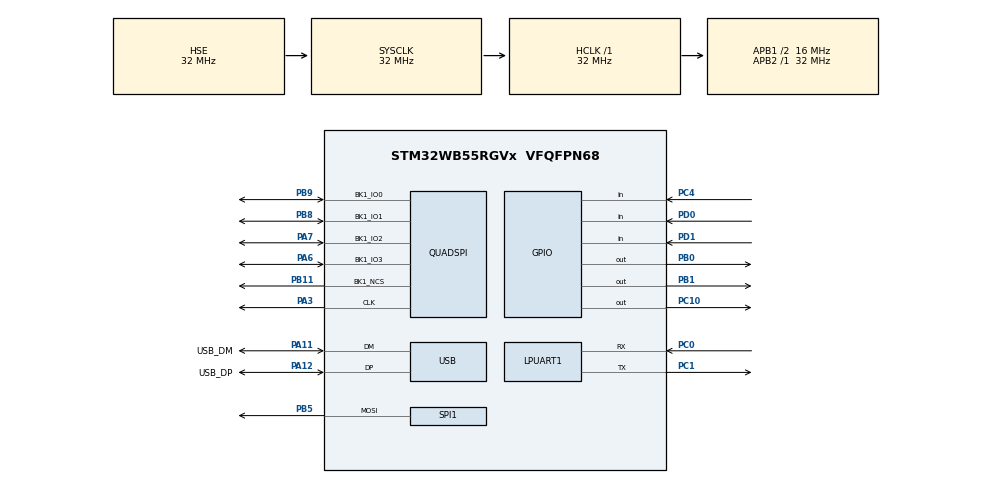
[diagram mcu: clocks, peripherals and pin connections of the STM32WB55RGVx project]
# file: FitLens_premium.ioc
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Mcu.Family=STM32WB
Mcu.Name=STM32WB55RGVx
Mcu.Package=VFQFPN68
NUCLEO-WB55RG.BUTTON=1
NUCLEO-WB55RG.BUTTON2=1
NUCLEO-WB55RG.BUTTON3=1
NUCLEO-WB55RG.Bsp_Common_DEMO=true
NUCLEO-WB55RG.LD1=true
NUCLEO-WB55RG.LD2=true
NUCLEO-WB55RG.LD3=true
NUCLEO-WB55RG.VCP=false
NVIC.EXTI0_IRQn=true\:0\:0\:false\:false\:true\:false\:true\:true
NVIC.EXTI1_IRQn=true\:0\:0\:false\:false\:true\:false\:true\:true
NVIC.EXTI4_IRQn=true\:0\:0\:false\:false\:true\:false\:true\:true
NVIC.HSEM_IRQn=true\:0\:0\:false\:false\:true\:false\:true\:true
NVIC.IPCC_C1_RX_IRQn=true\:0\:0\:false\:false\:true\:true\:true\:true
NVIC.IPCC_C1_TX_IRQn=true\:0\:0\:false\:false\:true\:true\:true\:true
NVIC.PriorityGroup=NVIC_PRIORITYGROUP_4
NVIC.USB_LP_IRQn=true\:0\:0\:false\:false\:true\:false\:true\:true
OSC_IN.GPIO_Label=RCC_OSC_IN
OSC_IN.Mode=HSE-External-Oscillator
OSC_IN.Signal=RCC_OSC_IN
OSC_OUT.GPIO_Label=RCC_OSC_OUT
OSC_OUT.Mode=HSE-External-Oscillator
OSC_OUT.Signal=RCC_OSC_OUT
PA11.GPIO_Label=USB_DM
PA11.Mode=Device
PA11.Signal=USB_DM
PA12.GPIO_Label=USB_DP
PA12.Mode=Device
PA12.Signal=USB_DP
PA13.GPIO_Label=JTMS
PA13.Signal=SYS_JTMS-SWDIO
PA14.GPIO_Label=JTCK
PA14.Signal=SYS_JTCK-SWCLK
PA3.Mode=Single Bank 1
PA3.Signal=QUADSPI_CLK
PA6.Mode=Single Bank 1
PA6.Signal=QUADSPI_BK1_IO3
PA7.Mode=Single Bank 1
PA7.Signal=QUADSPI_BK1_IO2
PB0.Signal=GPIO_Output
PB1.Signal=GPIO_Output
PB11.Mode=Single Bank 1
PB11.Signal=QUADSPI_BK1_NCS
PB3.GPIO_Label=JTDO
PB3.Signal=SYS_JTDO-SWO
PB5.Mode=Full_Duplex_Master
PB5.Signal=SPI1_MOSI
PB8.Mode=Single Bank 1
PB8.Signal=QUADSPI_BK1_IO1
PB9.Mode=Single Bank 1
PB9.Signal=QUADSPI_BK1_IO0
PC0.Mode=Asynchronous
PC0.Signal=LPUART1_RX
PC1.Mode=Asynchronous
PC1.Signal=LPUART1_TX
PC10.Signal=GPIO_Output
PC13.GPIO_Label=SYS_WKUP2
PC13.Signal=SYS_WKUP2
PC14-OSC32_IN.GPIO_Label=RCC_OSC32_IN
PC14-OSC32_IN.Mode=LSE-External-Oscillator
PC14-OSC32_IN.Signal=RCC_OSC32_IN
PC15-OSC32_OUT.GPIO_Label=RCC_OSC32_OUT
PC15-OSC32_OUT.Mode=LSE-External-Oscillator
PC15-OSC32_OUT.Signal=RCC_OSC32_OUT
PC4.Signal=GPIO_Input
PD0.Signal=GPIO_Input
PD1.Signal=GPIO_Input
ProjectManager.HeapSize=0x200
ProjectManager.StackSize=0x400
ProjectManager.TargetToolchain=STM32CubeIDE
QUADSPI.FlashSize=22
RCC.ADCFreq_Value=48000000
RCC.AHBFreq_Value=32000000
RCC.APB1CLKDivider=RCC_HCLK_DIV2
RCC.APB1Freq_Value=16000000
RCC.APB1TimFreq_Value=32000000
RCC.APB2Freq_Value=32000000
RCC.APB2TimFreq_Value=32000000
RCC.APB3Freq_Value=16000000
RCC.CortexFreq_Value=32000000
RCC.HCLKFreq_Value=32000000
RCC.HSE_VALUE=32000000
RCC.HSI48_VALUE=48000000
RCC.HSI_VALUE=16000000
RCC.PLLSAI1N=24
RCC.RFWKPClockSelection=RCC_RFWKPCLKSOURCE_LSE
RCC.RTCClockSelection=RCC_RTCCLKSOURCE_LSE
RCC.SMPSCLockSelection=RCC_SMPSCLKSOURCE_HSI
RCC.SMPSCLockSelectionVirtual=RCC_SMPSCLKSOURCE_HSI
RCC.SMPSCLockSelectionVirtualVirtual=RCC_SMPSCLKSOURCE_HSI
RCC.SYSCLKFreq_VALUE=32000000
RCC.SYSCLKSource=RCC_SYSCLKSOURCE_HSE
RCC.USBFreq_Value=48000000
RCC.VCOOutputFreq_Value=32000000
RF1.Mode=RF1_Activate
RF1.Signal=RF_RF1
STM32_WPAN.BLE_APPLICATION_TYPE=BLE_CLIENT_PROFILE
STM32_WPAN.CFG_BLE_NUM_LINK=3
STM32_WPAN.CFG_LSCLK_LSE=0
USB_DEVICE.CLASS_NAME_FS=CDC
USB_DEVICE.VirtualMode=Cdc
USB_DEVICE.VirtualModeFS=Cdc_FS
VP_HSEM_VS_HSEM.Mode=HSEM_Activate
VP_IPCC_VS_IPCC.Mode=IPCC_Activate
VP_MEMORYMAP_VS_MEMORYMAP.Mode=CurAppReg
VP_NUCLEO-WB55RG_VS_BSP_COMMON.Mode=COMMON
VP_RTC_VS_RTC_Activate.Mode=RTC_Enabled
VP_RTC_VS_RTC_WakeUp_intern.Mode=WakeUp
VP_SEQUENCER_VS_SEQUENCER.Mode=SEQUENCER_Enabled
VP_STM32_WPAN_VS_BLE_HOST.Mode=STM32_WPAN_Enabled
VP_TINY_LPM_VS_TINY_LPM.Mode=TINY_LPM_Enabled
VP_USB_DEVICE_VS_USB_DEVICE_CDC_FS.Mode=CDC_FS
board=NUCLEO-WB55RG

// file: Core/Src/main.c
/* USER CODE BEGIN Header */
/**
  ******************************************************************************
  * @file           : main.c
  * @brief          : Main program body
  ******************************************************************************
  * @attention
  *
  * Copyright (c) 2025 STMicroelectronics.
  * All rights reserved.
  *
  * This software is licensed under terms that can be found in the LICENSE file
  * in the root directory of this software component.
  * If no LICENSE file comes with this software, it is provided AS-IS.
  *
  ******************************************************************************
  */
/* USER CODE END Header */
#include "main.h"
#include "usb_device.h"

/* USER CODE BEGIN Includes */
//#include "ssd1306_fonts.h"
#include "usbd_cdc_if.h"
#include <string.h>
#include <stdio.h>
//#include "ssd1306.h"
#include <stdlib.h>
/* USER CODE END Includes */

/* USER CODE BEGIN PD */
#define GPS_BUFFER_SIZE 128
uint8_t gps_rx_byte;
char gps_buffer[GPS_BUFFER_SIZE];
uint8_t gps_index = 0;

uint8_t hour, minute, second;
uint8_t satellites;
double latitude, longitude;
float speed_knots, speed_mph;
float altitude_m;

#define MEM_CS_Pin GPIO_PIN_11
#define MEM_CS_GPIO_Port GPIOB
#define SPI1_DC_Pin GPIO_PIN_10
#define SPI1_DC_GPIO_Port GPIOC
/* USER CODE END PD */

static uint32_t delay = 250;
IPCC_HandleTypeDef hipcc;

UART_HandleTypeDef hlpuart1;

QSPI_HandleTypeDef hqspi;

RTC_HandleTypeDef hrtc;

/* USER CODE BEGIN PV */
uint32_t flash_id = 0;
/* USER CODE END PV */

void SystemClock_Config(void);
void PeriphCommonClock_Config(void);
static void MX_GPIO_Init(void);
static void MX_LPUART1_UART_Init(void);
static void MX_IPCC_Init(void);
static void MX_RTC_Init(void);
static void MX_QUADSPI_Init(void);
static void MX_RF_Init(void);

/* USER CODE BEGIN 0 */
/*void Display_Write(uint8_t cmd) {
    HAL_GPIO_WritePin(DISP_DC_PORT, DISP_DC, GPIO_PIN_RESET); // command mode
    HAL_GPIO_WritePin(DISP_CS_PORT, DISP_CS, GPIO_PIN_RESET); // select display
    HAL_SPI_Transmit(&hspi1, &cmd, 1, HAL_MAX_DELAY); // send command
    HAL_GPIO_WritePin(DISP_CS_PORT, DISP_CS, GPIO_PIN_SET); // deselect display
}*/

// convert NMEA (ddmm.mmmm) to lat/lon degrees
double nmea_to_decimal(const char* nmea, char dir) {
	double val = atof(nmea); // string to double
	int degrees = (int)(val / 100);
	double minutes = val - degrees * 100;
	double dec = degrees + minutes / 60.0;
	if(dir == 'S' || dir == 'W') dec = -dec; // convention-may want to keep letters later
	return dec;
}

void parse_GPGGA(char* sentence) {
	char* token;
	int field = 0;
	char lat[16], lon[16], ns, ew, alt[16], sat[4];

	token = strtok(sentence, ",");
	while(token) {
		field++;
		switch(field) {
			case 2: break;
			case 3: strcpy(lat, token); break;
			case 4: ns = token[0]; break;
			case 5: strcpy(lon, token); break;
			case 6: ew = token[0]; break;
			case 7: strcpy(sat, token); break;
			case 10: strcpy(alt, token); break;
		}
		token = strtok(NULL, ",");
	}
	latitude = nmea_to_decimal(lat, ns);
	longitude = nmea_to_decimal(lon, ew);
	satellites = (uint8_t)atoi(sat);
	altitude_m = atof(alt);
}

void parse_GPRMC(char* sentence) {
	char* token;
	int field = 0;
	char time_str[16], speed[16];

	token = strtok(sentence, ",");
	while(token) {
		field++;
		switch(field) {
			case 2: strcpy(time_str, token); break;
			case 8: strcpy(speed, token); break;
		}
		token = strtok(NULL, ",");
	}
	char h[3], m[3], s[3];
	strncpy(h, time_str, 2); h[2] = '\0';
	strncpy(m, time_str+2, 2); m[2] = '\0';
	strncpy(s, time_str+4, 2); s[2] = '\0';
	hour = atoi(h);
	minute = atoi(m);
	second = atoi(s);
	speed_knots = atof(speed);
	speed_mph = speed_knots * 1.150779;
}

// called when UART receive completes in interrupt mode
void HAL_UART_RxCpltCallback(UART_HandleTypeDef *huart) {
	if(huart->Instance == LPUART1) {
		if(gps_rx_byte == '\n') {
			gps_buffer[gps_index] = '\0';
			if(strncmp(gps_buffer, "$GPGGA", 6) == 0) parse_GPGGA(gps_buffer);
			else if(strncmp(gps_buffer, "$GPRMC", 6) == 0) parse_GPRMC(gps_buffer);
			gps_index = 0;
		} else if(gps_index < GPS_BUFFER_SIZE - 1) {
			gps_buffer[gps_index++] = gps_rx_byte;
		}
		HAL_UART_Receive_IT(&hlpuart1, &gps_rx_byte, 1);
	}
}

uint32_t MX25_READID_QSPI(void){
	QSPI_CommandTypeDef s_command = {0};
	uint8_t id[3];

	s_command.Instruction = 0x9F;
	s_command.InstructionMode = QSPI_INSTRUCTION_1_LINE;
	s_command.AddressMode = QSPI_ADDRESS_NONE;
	s_command.AlternateByteMode = QSPI_ALTERNATE_BYTES_NONE;
	s_command.DataMode = QSPI_DATA_1_LINE;
	s_command.NbData = 3;
	s_command.DdrMode = QSPI_DDR_MODE_DISABLE;
	s_command.SIOOMode = QSPI_SIOO_INST_EVERY_CMD;

	if (HAL_QSPI_Command(&hqspi, &s_command, HAL_QSPI_TIMEOUT_DEFAULT_VALUE) == HAL_OK)
	{
		HAL_QSPI_Receive(&hqspi, id, HAL_QSPI_TIMEOUT_DEFAULT_VALUE);
	}

	return (id[0] << 16) | (id[1] << 8) | id[2];
}

void MX25_WriteEnable(void){
	QSPI_CommandTypeDef s_command = {0};

	s_command.Instruction = 0x06;
	s_command.InstructionMode = QSPI_INSTRUCTION_1_LINE;
	s_command.AddressMode = QSPI_ADDRESS_NONE;
	s_command.AlternateByteMode = QSPI_ALTERNATE_BYTES_NONE;
	s_command.DataMode = QSPI_DATA_NONE;
	s_command.NbData = 0;
	s_command.DdrMode = QSPI_DDR_MODE_DISABLE;
	s_command.SIOOMode = QSPI_SIOO_INST_EVERY_CMD;

	if (HAL_QSPI_Command(&hqspi, &s_command,HAL_QSPI_TIMEOUT_DEFAULT_VALUE) != HAL_OK){
		Error_Handler();
	}

}

uint8_t MX25_ReadStatus(void){
	QSPI_CommandTypeDef s_command = {0};
	uint8_t status = 0;

	s_command.Instruction = 0x05;
	s_command.InstructionMode = QSPI_INSTRUCTION_1_LINE;
	s_command.AddressMode = QSPI_ADDRESS_NONE;
	s_command.AlternateByteMode = QSPI_ALTERNATE_BYTES_NONE;
	s_command.DataMode = QSPI_DATA_1_LINE;
	s_command.NbData = 1;
	s_command.DummyCycles = 0;
	s_command.DdrMode = QSPI_DDR_MODE_DISABLE;
	s_command.SIOOMode = QSPI_SIOO_INST_EVERY_CMD;

	if (HAL_QSPI_Command(&hqspi, &s_command, HAL_QSPI_TIMEOUT_DEFAULT_VALUE) == HAL_OK) {
	        HAL_QSPI_Receive(&hqspi, &status, HAL_QSPI_TIMEOUT_DEFAULT_VALUE);
	}
	return status;
}

void MX25_WaitForBusy(void) {
    while ((MX25_ReadStatus() & 0x01) == 0x01) {
        HAL_Delay(1);
    }
}

void MX25_PageProgram(uint32_t Address, uint8_t *pData, uint16_t Size){
	QSPI_CommandTypeDef s_command = {0};

	MX25_WriteEnable();
	s_command.Instruction = 0x02;
	s_command.InstructionMode = QSPI_INSTRUCTION_1_LINE;
	s_command.Address = Address;
	s_command.AddressMode = QSPI_ADDRESS_1_LINE;
	s_command.AddressSize = QSPI_ADDRESS_24_BITS;
	s_command.DataMode = QSPI_DATA_1_LINE;
	s_command.NbData = Size; //256 bytes possible
	s_command.DummyCycles = 0;

	if (HAL_QSPI_Command(&hqspi, &s_command, HAL_QSPI_TIMEOUT_DEFAULT_VALUE) == HAL_OK) {
	    if (HAL_QSPI_Transmit(&hqspi, pData, HAL_QSPI_TIMEOUT_DEFAULT_VALUE) != HAL_OK) {
	        Error_Handler();
	    }
	}
	//uses helper to wait for the chip to finish writing
	while ((MX25_ReadStatus() & 0x01) == 0x01);
}

void MX25_SectorErase(uint32_t Address){
	QSPI_CommandTypeDef s_command = {0};

	MX25_WriteEnable();

	s_command.Instruction = 0x20;
	s_command.InstructionMode = QSPI_INSTRUCTION_1_LINE;
	s_command.Address = Address;
	s_command.AddressMode = QSPI_ADDRESS_1_LINE;
	s_command.AddressSize = QSPI_ADDRESS_24_BITS;
	s_command.DataMode = QSPI_DATA_NONE;
	s_command.DummyCycles = 0;
	s_command.DdrMode = QSPI_DDR_MODE_DISABLE;
	s_command.SIOOMode = QSPI_SIOO_INST_EVERY_CMD;

	if (HAL_QSPI_Command(&hqspi, &s_command, HAL_QSPI_TIMEOUT_DEFAULT_VALUE) != HAL_OK) {
	    Error_Handler();
	}

	while ((MX25_ReadStatus() & 0x01) == 0x01);
}

void MX25_ReadData(uint32_t Address, uint8_t *pData, uint16_t Size){
	QSPI_CommandTypeDef s_command = {0};

	s_command.Instruction = 0x03;
	s_command.InstructionMode = QSPI_INSTRUCTION_1_LINE;
	s_command.Address = Address;
	s_command.AddressMode = QSPI_ADDRESS_1_LINE;
	s_command.AddressSize = QSPI_ADDRESS_24_BITS;
	s_command.DataMode = QSPI_DATA_1_LINE;
	s_command.NbData = Size;
	s_command.DummyCycles = 0;
	s_command.DdrMode = QSPI_DDR_MODE_DISABLE;
	s_command.SIOOMode = QSPI_SIOO_INST_EVERY_CMD;

	if (HAL_QSPI_Command(&hqspi, &s_command, HAL_QSPI_TIMEOUT_DEFAULT_VALUE) == HAL_OK) {
	    if (HAL_QSPI_Receive(&hqspi, pData, HAL_QSPI_TIMEOUT_DEFAULT_VALUE) != HAL_OK) {
	        Error_Handler();
	    }
	}
}
/* USER CODE END 0 */

int main(void)
{

  /* MCU Configuration--------------------------------------------------------*/

  /* Reset of all peripherals, Initializes the Flash interface and the Systick. */
  HAL_Init();
  /* Config code for STM32_WPAN (HSE Tuning must be done before system clock configuration) */
  MX_APPE_Config();

  /* Configure the system clock */
  SystemClock_Config();

  /* Configure the peripherals common clocks */
  PeriphCommonClock_Config();

  /* IPCC initialisation */
  MX_IPCC_Init();

  /* Initialize all configured peripherals */
  MX_GPIO_Init();
  MX_LPUART1_UART_Init();
  MX_RTC_Init();
  MX_USB_Device_Init();
  MX_QUADSPI_Init();
  MX_RF_Init();
  /* USER CODE BEGIN 2 */

  BSP_LED_Off(LED_GREEN);
  BSP_LED_Off(LED_RED);
  BSP_LED_Off(LED_BLUE);

  BSP_LED_On(LED_BLUE);
  BSP_LED_Off(LED_BLUE);

  flash_id = MX25_READID_QSPI();

  if (flash_id == 0xC22017) {

      BSP_LED_On(LED_GREEN);
  }
  else if (flash_id == 0x000000 || flash_id == 0xFFFFFF) {

      BSP_LED_On(LED_RED);
      BSP_LED_On(LED_BLUE);
  }
  else {

      BSP_LED_On(LED_RED);
  }

    // new test
    //uint8_t tx_buf[] = "FITLENS_SYSTEM_OK";
    //uint8_t rx_buf[20] = {0};

    //erase sector
    //MX25_SectorErase(0x000000);

    //write the string
    //MX25_PageProgram(0x000000, tx_buf, 17);

    // read the string back
    //MX25_ReadData(0x000000, rx_buf, 17);

    // usb test
    /*char usb_msg[64];
    int test_passed = (strcmp((char*)tx_buf, (char*)rx_buf) == 0);

    if (test_passed) {
          sprintf(usb_msg, "Storage & USB work woohoo! ID: 0xC22017\r\n");
      } else {
          sprintf(usb_msg, "Storage Error :( USB Link works.\r\n");
      }

    //7-1-1
    HAL_Delay(3000);
    CDC_Transmit_FS((uint8_t*)usb_msg, strlen(usb_msg));

    if (test_passed) {
          while(1) { BSP_LED_On(LED_GREEN); }
      } else {
          while(1) {
              BSP_LED_On(LED_RED);
              if (rx_buf[0] == 0) BSP_LED_On(LED_BLUE);
          }
      }
     */
    /*if (strcmp((char*)tx_buf, (char*)rx_buf) == 0) {
    if (strcmp("WRONG_STRING", (char*)rx_buf) == 0) {
          // Works
          while(1) {
              BSP_LED_On(LED_GREEN);
              BSP_LED_Off(LED_RED);
              BSP_LED_Off(LED_BLUE);
          }
      } else {
          // does not work
          while(1) {
              BSP_LED_On(LED_RED);
              // If the buffer is empty (0x00) blink blue too
              if (rx_buf[0] == 0) BSP_LED_On(LED_BLUE);
          }
      }
	*/

    // download gpx test
    /*char gpx_data[] =
        "<?xml version=\"1.0\" encoding=\"UTF-8\"?>\n"
        "<gpx version=\"1.1\" creator=\"FitLens\">\n"
        "<trk><trkseg>\n"
        "<trkpt lat=\"40.4237\" lon=\"-86.9138\"><ele>188.0</ele></trkpt>\n"
        "</trkseg></trk></gpx>\n";
    MX25_SectorErase(0x000000);
    MX25_PageProgram(0x000000, (uint8_t*)gpx_data, strlen(gpx_data));

    //uint32_t flash_id = MX25_READID_QSPI();

    //notifies user over USB
    HAL_Delay(3000);
    char prompt[128];
    sprintf(prompt, "\r\nFitLens\r\n" "Flash ID: 0x%06lX\r\n" "Commands: [D]ownload, [E]rase, [L]ED Toggle\r\n", flash_id);
    CDC_Transmit_FS((uint8_t*)prompt, strlen(prompt));

    while(1) {
            HAL_Delay(100);
    }
	*/
  /* USER CODE END 2 */

  /* Init code for STM32_WPAN */
  MX_APPE_Init();

  /* Initialize leds */
  BSP_LED_Init(LED_BLUE);
  BSP_LED_Init(LED_GREEN);
  BSP_LED_Init(LED_RED);

  /* Initialize USER push-button, will be used to trigger an interrupt each time it's pressed.*/
  BSP_PB_Init(BUTTON_SW1, BUTTON_MODE_EXTI);
  BSP_PB_Init(BUTTON_SW2, BUTTON_MODE_EXTI);
  BSP_PB_Init(BUTTON_SW3, BUTTON_MODE_EXTI);

  /* USER CODE BEGIN BSP */

  /* -- Sample board code to send message over COM1 port ---- */
  printf("Welcome to STM32 world !\n\r");

  /* -- Sample board code to switch on leds ---- */
  BSP_LED_On(LED_BLUE);
  BSP_LED_On(LED_GREEN);
  BSP_LED_On(LED_RED);

  /* USER CODE END BSP */

  /* Infinite loop */
  /* USER CODE BEGIN WHILE */
  while (1)
  {
	  MX_APPE_Process();

//    /* -- Sample board code for User push-button in interrupt mode ---- */
//    BSP_LED_Toggle(LED_BLUE);
//    HAL_Delay(delay);
//
//    BSP_LED_Toggle(LED_GREEN);
//    HAL_Delay(delay);
//
//    BSP_LED_Toggle(LED_RED);
//    HAL_Delay(delay);
//
//    ssd1306_Fill(White);
//    ssd1306_UpdateScreen();
//    HAL_Delay(1000);
//    ssd1306_Fill(Black);
//    ssd1306_UpdateScreen();

//    // display time and speed on first two lines
//	 char buf[32];
//	 sprintf(buf, "%.2f mph", speed_mph);
//	 ssd1306_SetCursor(35, 30);
//	 ssd1306_WriteString(buf, Font_6x8, White);
//
//	 sprintf(buf, "%02d:%02d:%02d", hour, minute, second);
//	 ssd1306_SetCursor(35, 20);
//	 ssd1306_WriteString(buf, Font_6x8, White);
//
//	 // display number of satellites and altitude on next two lines
////	 sprintf(buf, "Sat: %d", satellites);
////	 ssd1306_SetCursor(35, 40);
////	 ssd1306_WriteString(buf, Font_6x8, White);
//
// //	 sprintf(buf, "Alt: %.1f", altitude_m);
// //	 ssd1306_SetCursor(35, 50);
// //	 ssd1306_WriteString(buf, Font_6x8, White);
//
//	 // display coords
//	 sprintf(buf, "%.1f|%.1f", latitude, longitude);
//	 ssd1306_SetCursor(35, 40);
//	 ssd1306_WriteString(buf, Font_6x8, White);
//
//	 // get values from 2 ADC channels
////	 HAL_ADC_Start(&hadc1);
////	 HAL_ADC_PollForConversion(&hadc1, HAL_MAX_DELAY);
////	 uint32_t adcLight = HAL_ADC_GetValue(&hadc1);
////	 HAL_ADC_PollForConversion(&hadc1, HAL_MAX_DELAY);
////	 uint32_t adcTouch = HAL_ADC_GetValue(&hadc1);
////	 HAL_ADC_Stop(&hadc1); // might not be needed
////
////	 // modify display brightness in three stages based on observed thresholds - tune up later
////	 if (adcLight > 3500) {
////		 Display_Write(0x81); // set contrast/brightness
////		 Display_Write(0xFF); // max brightness
////	 } else if (adcLight > 3000) {
////		 Display_Write(0x81); // set contrast/brightness
////		 Display_Write(0x7F); // medium brightness
////	 } else {
////		 Display_Write(0x81); // set contrast/brightness
////		 Display_Write(0x00); // lowest brightness
////	 }
////
////	 // display light and touch sensor values for observation
////	 sprintf(buf, "%lu %lu", adcLight, adcTouch);
////	 ssd1306_SetCursor(35, 50);
////	 ssd1306_WriteString(buf, Font_6x8, White);
//
//	 ssd1306_UpdateScreen();
//	 HAL_Delay(1000);
    /* USER CODE END WHILE */
    MX_APPE_Process();

  }
}

void SystemClock_Config(void)
{
  RCC_OscInitTypeDef RCC_OscInitStruct = {0};
  RCC_ClkInitTypeDef RCC_ClkInitStruct = {0};

  /** Macro to configure the PLL multiplication factor
  */
  __HAL_RCC_PLL_PLLM_CONFIG(RCC_PLLM_DIV1);

  /** Macro to configure the PLL clock source
  */
  __HAL_RCC_PLL_PLLSOURCE_CONFIG(RCC_PLLSOURCE_MSI);

  /** Configure LSE Drive Capability
  */
  HAL_PWR_EnableBkUpAccess();
  __HAL_RCC_LSEDRIVE_CONFIG(RCC_LSEDRIVE_MEDIUMHIGH);

  /** Configure the main internal regulator output voltage
  */
  __HAL_PWR_VOLTAGESCALING_CONFIG(PWR_REGULATOR_VOLTAGE_SCALE1);

  /** Initializes the RCC Oscillators according to the specified parameters
  * in the RCC_OscInitTypeDef structure.
  */
  RCC_OscInitStruct.OscillatorType = RCC_OSCILLATORTYPE_HSI|RCC_OSCILLATORTYPE_HSE
                              |RCC_OSCILLATORTYPE_LSE|RCC_OSCILLATORTYPE_MSI;
  RCC_OscInitStruct.HSEState = RCC_HSE_ON;
  RCC_OscInitStruct.LSEState = RCC_LSE_ON;
  RCC_OscInitStruct.HSIState = RCC_HSI_ON;
  RCC_OscInitStruct.MSIState = RCC_MSI_ON;
  RCC_OscInitStruct.HSICalibrationValue = RCC_HSICALIBRATION_DEFAULT;
  RCC_OscInitStruct.MSICalibrationValue = RCC_MSICALIBRATION_DEFAULT;
  RCC_OscInitStruct.MSIClockRange = RCC_MSIRANGE_6;
  RCC_OscInitStruct.PLL.PLLState = RCC_PLL_NONE;
  if (HAL_RCC_OscConfig(&RCC_OscInitStruct) != HAL_OK)
  {
    Error_Handler();
  }

  /** Configure the SYSCLKSource, HCLK, PCLK1 and PCLK2 clocks dividers
  */
  RCC_ClkInitStruct.ClockType = RCC_CLOCKTYPE_HCLK4|RCC_CLOCKTYPE_HCLK2
                              |RCC_CLOCKTYPE_HCLK|RCC_CLOCKTYPE_SYSCLK
                              |RCC_CLOCKTYPE_PCLK1|RCC_CLOCKTYPE_PCLK2;
  RCC_ClkInitStruct.SYSCLKSource = RCC_SYSCLKSOURCE_HSE;
  RCC_ClkInitStruct.AHBCLKDivider = RCC_SYSCLK_DIV1;
  RCC_ClkInitStruct.APB1CLKDivider = RCC_HCLK_DIV2;
  RCC_ClkInitStruct.APB2CLKDivider = RCC_HCLK_DIV1;
  RCC_ClkInitStruct.AHBCLK2Divider = RCC_SYSCLK_DIV1;
  RCC_ClkInitStruct.AHBCLK4Divider = RCC_SYSCLK_DIV1;

  if (HAL_RCC_ClockConfig(&RCC_ClkInitStruct, FLASH_LATENCY_1) != HAL_OK)
  {
    Error_Handler();
  }

  /** Enable MSI Auto calibration
  */
  HAL_RCCEx_EnableMSIPLLMode();
}

void PeriphCommonClock_Config(void)
{
  RCC_PeriphCLKInitTypeDef PeriphClkInitStruct = {0};

  /** Initializes the peripherals clock
  */
  PeriphClkInitStruct.PeriphClockSelection = RCC_PERIPHCLK_SMPS|RCC_PERIPHCLK_RFWAKEUP;
  PeriphClkInitStruct.RFWakeUpClockSelection = RCC_RFWKPCLKSOURCE_LSE;
  PeriphClkInitStruct.SmpsClockSelection = RCC_SMPSCLKSOURCE_HSI;
  PeriphClkInitStruct.SmpsDivSelection = RCC_SMPSCLKDIV_RANGE1;

  if (HAL_RCCEx_PeriphCLKConfig(&PeriphClkInitStruct) != HAL_OK)
  {
    Error_Handler();
  }
}

static void MX_IPCC_Init(void)
{

  hipcc.Instance = IPCC;
  if (HAL_IPCC_Init(&hipcc) != HAL_OK)
  {
    Error_Handler();
  }

}

static void MX_LPUART1_UART_Init(void)
{

  hlpuart1.Instance = LPUART1;
  hlpuart1.Init.BaudRate = 115200;
  hlpuart1.Init.WordLength = UART_WORDLENGTH_8B;
  hlpuart1.Init.StopBits = UART_STOPBITS_1;
  hlpuart1.Init.Parity = UART_PARITY_NONE;
  hlpuart1.Init.Mode = UART_MODE_TX_RX;
  hlpuart1.Init.HwFlowCtl = UART_HWCONTROL_NONE;
  hlpuart1.Init.OneBitSampling = UART_ONE_BIT_SAMPLE_DISABLE;
  hlpuart1.Init.ClockPrescaler = UART_PRESCALER_DIV1;
  hlpuart1.AdvancedInit.AdvFeatureInit = UART_ADVFEATURE_NO_INIT;
  hlpuart1.FifoMode = UART_FIFOMODE_DISABLE;
  if (HAL_UART_Init(&hlpuart1) != HAL_OK)
  {
    Error_Handler();
  }
  if (HAL_UARTEx_SetTxFifoThreshold(&hlpuart1, UART_TXFIFO_THRESHOLD_1_8) != HAL_OK)
  {
    Error_Handler();
  }
  if (HAL_UARTEx_SetRxFifoThreshold(&hlpuart1, UART_RXFIFO_THRESHOLD_1_8) != HAL_OK)
  {
    Error_Handler();
  }
  if (HAL_UARTEx_DisableFifoMode(&hlpuart1) != HAL_OK)
  {
    Error_Handler();
  }

}

static void MX_QUADSPI_Init(void)
{

  /* QUADSPI parameter configuration*/
  hqspi.Instance = QUADSPI;
  hqspi.Init.ClockPrescaler = 255;
  hqspi.Init.FifoThreshold = 1;
  hqspi.Init.SampleShifting = QSPI_SAMPLE_SHIFTING_NONE;
  hqspi.Init.FlashSize = 22;
  hqspi.Init.ChipSelectHighTime = QSPI_CS_HIGH_TIME_1_CYCLE;
  hqspi.Init.ClockMode = QSPI_CLOCK_MODE_0;
  if (HAL_QSPI_Init(&hqspi) != HAL_OK)
  {
    Error_Handler();
  }

}

static void MX_RF_Init(void)
{

}

static void MX_RTC_Init(void)
{

  /** Initialize RTC Only
  */
  hrtc.Instance = RTC;
  hrtc.Init.HourFormat = RTC_HOURFORMAT_24;
  hrtc.Init.AsynchPrediv = CFG_RTC_ASYNCH_PRESCALER;
  hrtc.Init.SynchPrediv = CFG_RTC_SYNCH_PRESCALER;
  hrtc.Init.OutPut = RTC_OUTPUT_DISABLE;
  hrtc.Init.OutPutPolarity = RTC_OUTPUT_POLARITY_HIGH;
  hrtc.Init.OutPutType = RTC_OUTPUT_TYPE_OPENDRAIN;
  hrtc.Init.OutPutRemap = RTC_OUTPUT_REMAP_NONE;
  if (HAL_RTC_Init(&hrtc) != HAL_OK)
  {
    Error_Handler();
  }

  /** Enable the WakeUp
  */
  if (HAL_RTCEx_SetWakeUpTimer(&hrtc, 0, RTC_WAKEUPCLOCK_RTCCLK_DIV16) != HAL_OK)
  {
    Error_Handler();
  }

}

static void MX_GPIO_Init(void)
{
  GPIO_InitTypeDef GPIO_InitStruct = {0};

  /* GPIO Ports Clock Enable */
  __HAL_RCC_GPIOC_CLK_ENABLE();
  __HAL_RCC_GPIOB_CLK_ENABLE();
  __HAL_RCC_GPIOA_CLK_ENABLE();

  /*Configure GPIO pin Output Level */
  HAL_GPIO_WritePin(GPIOC, GPIO_PIN_10, GPIO_PIN_RESET);

  /*Configure GPIO pin : PC10 */
  GPIO_InitStruct.Pin = GPIO_PIN_10;
  GPIO_InitStruct.Mode = GPIO_MODE_OUTPUT_PP;
  GPIO_InitStruct.Pull = GPIO_NOPULL;
  GPIO_InitStruct.Speed = GPIO_SPEED_FREQ_LOW;
  HAL_GPIO_Init(GPIOC, &GPIO_InitStruct);

}

/* USER CODE BEGIN 4 */

hw_status_t HW_UART_Transmit_DMA(hw_uart_id_t hw_uart_id, uint8_t *p_data, uint16_t size, void (*Callback)(void))
{
    /* 1. Send the data using the blocking HAL function (since we know we are using USART1) */
    HAL_UART_Transmit(&hlpuart1, p_data, size, 1000);

    /* 2. Important: The Trace system expects a callback when "DMA" finishes.
       Since we did it blocking, we must call it now so the trace doesn't hang. */
    if (Callback != NULL)
    {
        Callback();
    }

    /* 3. Return 0 (hw_status_ok) */
    return (hw_status_t)0;
}
  #ifdef __GNUC__
  int __io_putchar(int ch)
  #else
  int fputc(int ch, FILE *f)
  #endif
  {
      /* Use huart1 since that is what you initialized in main() */
      HAL_UART_Transmit(&hlpuart1, (uint8_t *)&ch, 1, 0xFFFF);
      return ch;
  }

//  int _write(int file, char *ptr, int len)
//  {
//      int i;
//      for (i = 0; i < len; i++)
//      {
//          __io_putchar(*ptr++);
//      }
//      return len;
//  }
/* USER CODE END 4 */

/**
  * @brief EXTI line detection callback.
  * @param GPIO_Pin: Specifies the pins connected EXTI line
  * @retval None
  */
void HAL_GPIO_EXTI_Callback(uint16_t GPIO_Pin)
{
  switch(GPIO_Pin)
  {
    case BUTTON_SW1_PIN:
      /* Change the period to 100 ms */
      delay = 100;
      break;
    case BUTTON_SW2_PIN:
      /* Change the period to 500 ms */
      delay = 500;
      break;
    case BUTTON_SW3_PIN:
      /* Change the period to 1000 ms */
      delay = 1000;
      break;
    default:
      break;
  }
}

void Error_Handler(void)
{
  __disable_irq();
  while (1)
  {
  }
}
